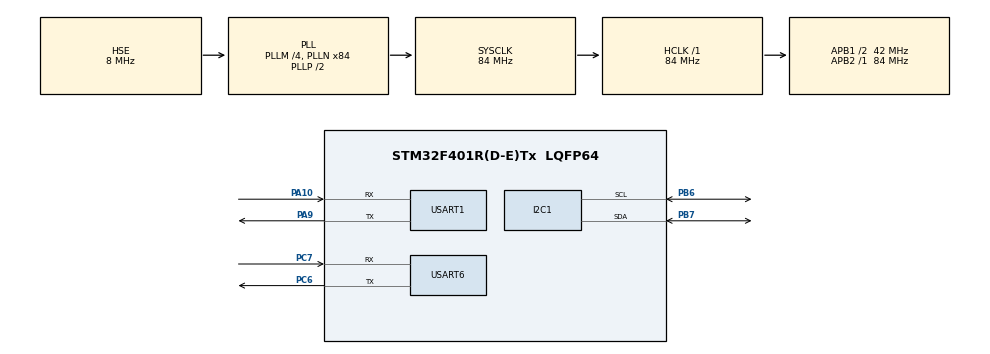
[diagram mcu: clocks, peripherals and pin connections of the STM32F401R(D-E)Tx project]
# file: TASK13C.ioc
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Mcu.Family=STM32F4
Mcu.Name=STM32F401R(D-E)Tx
Mcu.Package=LQFP64
NVIC.PriorityGroup=NVIC_PRIORITYGROUP_4
NVIC.USART1_IRQn=true\:0\:0\:false\:false\:true\:true\:true\:true
PA10.Mode=Asynchronous
PA10.Signal=USART1_RX
PA13.Mode=Serial_Wire
PA13.Signal=SYS_JTMS-SWDIO
PA14.Mode=Serial_Wire
PA14.Signal=SYS_JTCK-SWCLK
PA9.Mode=Asynchronous
PA9.Signal=USART1_TX
PB6.Mode=I2C
PB6.Signal=I2C1_SCL
PB7.Mode=I2C
PB7.Signal=I2C1_SDA
PC6.Mode=Asynchronous
PC6.Signal=USART6_TX
PC7.Mode=Asynchronous
PC7.Signal=USART6_RX
PH0\ -\ OSC_IN.Mode=HSE-External-Clock-Source
PH0\ -\ OSC_IN.Signal=RCC_OSC_IN
PH1\ -\ OSC_OUT.Mode=HSE-External-Clock-Source
PH1\ -\ OSC_OUT.Signal=RCC_OSC_OUT
ProjectManager.HeapSize=0x200
ProjectManager.StackSize=0x400
ProjectManager.TargetToolchain=STM32CubeIDE
RCC.48MHZClocksFreq_Value=42000000
RCC.AHBFreq_Value=84000000
RCC.APB1CLKDivider=RCC_HCLK_DIV2
RCC.APB1Freq_Value=42000000
RCC.APB1TimFreq_Value=84000000
RCC.APB2Freq_Value=84000000
RCC.APB2TimFreq_Value=84000000
RCC.CortexFreq_Value=84000000
RCC.HCLKFreq_Value=84000000
RCC.HSE_VALUE=8000000
RCC.HSI_VALUE=16000000
RCC.LSE_VALUE=32768
RCC.PLLM=4
RCC.PLLN=84
RCC.PLLSourceVirtual=RCC_PLLSOURCE_HSE
RCC.SYSCLKFreq_VALUE=84000000
RCC.SYSCLKSource=RCC_SYSCLKSOURCE_PLLCLK
RCC.VCOOutputFreq_Value=168000000
USART1.VirtualMode=VM_ASYNC
USART6.VirtualMode=VM_ASYNC
board=custom

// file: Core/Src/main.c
/* USER CODE BEGIN Header */
/**
  ******************************************************************************
  * @file           : main.c
  * @brief          : Main program body
  ******************************************************************************
  * @attention
  *
  * Copyright (c) 2026 STMicroelectronics.
  * All rights reserved.
  *
  * This software is licensed under terms that can be found in the LICENSE file
  * in the root directory of this software component.
  * If no LICENSE file comes with this software, it is provided AS-IS.
  *
  ******************************************************************************
  */
/* USER CODE END Header */
#include "main.h"

/* USER CODE BEGIN Includes */
#include "bme280.h"
#include <stdio.h>
#include <string.h>
/* USER CODE END Includes */

/* USER CODE BEGIN PTD */
//HTTP Server Related
typedef enum { CLOSED, CONNECTED, DATA } connection_state;
typedef struct {
	connection_state state;
	char data[128];
} connection;
/* USER CODE END PTD */

I2C_HandleTypeDef hi2c1;

UART_HandleTypeDef huart1;
UART_HandleTypeDef huart6;

/* USER CODE BEGIN PV */
struct bme280_dev dev;
struct bme280_settings settings;
struct bme280_data comp_data;
int8_t rslt = BME280_OK;

// I2C address of the sensor: 0x76 (SDO low). Change to BME280_I2C_ADDR_SEC (0x77) if SDO is high.
static uint8_t dev_addr = BME280_I2C_ADDR_PRIM;

// Final values -- watch these in the Live Expressions view
float temperature, pressure, humidity;
connection connections[5];
uint8_t byteRecieved;
char request[128];
char tmpbuf[256];
/* USER CODE END PV */

void SystemClock_Config(void);
static void MX_GPIO_Init(void);
static void MX_I2C1_Init(void);
static void MX_USART1_UART_Init(void);
static void MX_USART6_UART_Init(void);
/* USER CODE BEGIN PFP */
int8_t user_i2c_read(uint8_t reg_addr, uint8_t *reg_data, uint32_t len, void *intf_ptr);
int8_t user_i2c_write(uint8_t reg_addr, const uint8_t *reg_data, uint32_t len, void *intf_ptr);
void user_delay_us(uint32_t period, void *intf_ptr);
/* USER CODE END PFP */

/* USER CODE BEGIN 0 */
// UART Related
void onWifiDisconnect();
void sendUART(UART_HandleTypeDef *huart, char inp[]) {
    HAL_UART_Transmit(huart, (uint8_t *)inp, strlen(inp), HAL_MAX_DELAY);
    HAL_UART_Transmit(huart, (uint8_t *)"\r\n", 2, HAL_MAX_DELAY);
}

void recieveUART(UART_HandleTypeDef *huart, char* buf,int size) {
	uint8_t c;
	int lInd = 0;
	while (1) {
		if (HAL_UART_Receive(huart, &c, 1, HAL_MAX_DELAY) == HAL_OK) {
			if ((c == '\r') || (c == '\n')) {
				if (lInd > 0) {
					buf[lInd] = '\0';
					return;
				}
			} else if (lInd < size - 1) {
				buf[lInd++] = c;
			}
		}
	}
}

// Wifi Related
int sendATCommand(UART_HandleTypeDef *huart, char atCMD[],char *output,int outputSize) {
	output[0] = '\0';
	sendUART(huart, atCMD);
	char recBuf[512];
	while (1) {
		recieveUART(huart, recBuf, 64);
		strncat(output,recBuf, outputSize - strlen(output) - 1);
		strncat(output,"\r\n", outputSize - strlen(output) - 1);
		if (strcmp(recBuf, "OK") == 0) {
			return 1;
		} else if (strcmp(recBuf, "ERROR") == 0 || strcmp(recBuf, "FAIL") == 0) {
			return 0;
		}
	}
}

int initWifi(UART_HandleTypeDef *huart) {
	HAL_Delay(2000);
	__HAL_UART_CLEAR_OREFLAG(huart);
	char buf[32];
	sendATCommand(huart, "ATE0", buf, sizeof(buf));
	return sendATCommand(huart, "AT", buf, sizeof(buf));
}

int setMode(UART_HandleTypeDef *huart, char mode[], char *outBuf,int outBufSize) {
	outBuf[0] = '\0';
	char toSend[16];
	if (strcmp(mode,"STATION") == 0) {
		strcpy(toSend,"AT+CWMODE=1");
	} else if (strcmp(mode,"AP") == 0) {
		strcpy(toSend,"AT+CWMODE=2");
	} else if (strcmp(mode,"STATION_AP") == 0) {
		strcpy(toSend,"AT+CWMODE=3");
	} else {
		return -1;
	}
	return sendATCommand(huart, toSend, outBuf, outBufSize);
}

int joinAP(UART_HandleTypeDef *huart, char ssid[], char password[], char *outBuf,int outBufSize) {
	outBuf[0] = '\0';
	char toSend[128] = "AT+CWJAP=\"";
	strcat(toSend, ssid);
	strcat(toSend, "\",\"");
	strcat(toSend,password);
	strcat(toSend,"\"");
	return sendATCommand(huart, toSend, outBuf, outBufSize);
}

int getMAC(UART_HandleTypeDef *huart, char* macBuf,int macBufSize) {
	macBuf[0] = '\0';
	char outBuf[256];
	int ret = sendATCommand(huart, "AT+CIFSR", outBuf, sizeof(outBuf));
	if (ret) {
		char *mac = strstr(outBuf,"STAMAC");
		if (mac == NULL) {
			return 0;
		} else {
			mac += 8;
			int lastInd = 0;
			while (lastInd < macBufSize - 1 && *mac != '\0') {
				if (*mac == '\"') break;
				macBuf[lastInd++] = *mac;
				mac++;
			}
			macBuf[lastInd] = '\0';
		}
	}
	return ret;
}

int getIP(UART_HandleTypeDef *huart, char* ipBuf,int ipBufSize) {
	ipBuf[0] = '\0';
	char outBuf[256];
	int ret = sendATCommand(huart, "AT+CIFSR", outBuf, sizeof(outBuf));
	if (ret) {
		char *ip = strstr(outBuf,"STAIP");
		if (ip == NULL) {
			return 0;
		} else {
			ip += 7;
			int lastInd = 0;
			while (lastInd < ipBufSize - 1 && *ip != '\0') {
				if (*ip == '\"') break;
				ipBuf[lastInd++] = *ip;
				ip++;
			}
			ipBuf[lastInd] = '\0';
		}
	}
	return ret;
}

//HTTP Server Related
void HAL_UART_RxCpltCallback(UART_HandleTypeDef *huart) {
	if (huart->Instance == USART1) {
		int ind = strlen(request);
		if ((byteRecieved != '\r' && byteRecieved != '\n') && (ind < (int)sizeof(request)-1)) {
			request[ind++] = byteRecieved;
			request[ind] = '\0';
		} else {
			if (strstr(request,"WIFI DISCONNECT") != NULL) {
				onWifiDisconnect();
			} else if (strstr(request,"CONNECT") != NULL) {
				if (request[0] >= '0' && request[0] <= '4' && request[1] == ',')
					connections[request[0] - '0'].state = CONNECTED;
			} else if (strstr(request,"CLOSED") != NULL) {
				if (request[0] >= '0' && request[0] <= '4' && request[1] == ',')
					connections[request[0] - '0'].state = CLOSED;
			}  else {
				char* req = strstr(request,"+IPD");
				if (req != NULL) {
					req += 5;
					int link = *req - '0';
					req += 2;
					while (*req != ':' && *req != '\0') {
						req++;
					}
					if (link >= 0 && link <= 4 && *req == ':') {
						req += 1;
						if (connections[link].state != DATA) {
							strcpy(connections[link].data,req);
							connections[link].state = DATA;
						}
					}
				}
			}
			request[0] = '\0';
		}
		HAL_UART_Receive_IT(&huart1, &byteRecieved, 1);
	}
}

void HAL_UART_ErrorCallback(UART_HandleTypeDef *huart) {
	if (huart->Instance == USART1) {
		request[0] = '\0';
		HAL_UART_Receive_IT(&huart1, &byteRecieved, 1);
	}
}

int initServer() {
	char outBuf[8];
	int r1 = sendATCommand(&huart1, "AT+CIPMUX=1", outBuf, sizeof(outBuf));
	if (!r1) {
		return r1;
	}
	if (r1) {
		r1 = sendATCommand(&huart1, "AT+CIPSERVER=1,80", outBuf, sizeof(outBuf));
		HAL_UART_Receive_IT(&huart1, &byteRecieved, 1);
	}
	return r1;
}

int sendHTML(char content[],char type[],int link) {
	char out[1024];
	char toSend[32];
	int len = snprintf(out,sizeof(out),"HTTP/1.1 200 OK\r\nContent-Type: %s\r\nContent-Length: %d\r\nConnection: close\r\n\r\n%s",type,strlen(content),content);
	if (len >= (int)sizeof(out)) len = sizeof(out) - 1;
	snprintf(toSend,sizeof(toSend),"AT+CIPSEND=%d,%d",link,len);

	HAL_UART_AbortReceive(&huart1);

	int ret = sendATCommand(&huart1, toSend, tmpbuf, sizeof(tmpbuf));
	if (ret) {
		uint8_t c;
		do {
			HAL_UART_Receive(&huart1, &c, 1, HAL_MAX_DELAY);
		} while (c != '>');

		HAL_UART_Transmit(&huart1, (uint8_t *)out, len, HAL_MAX_DELAY);

		char recBuf[64];
		do {
			recieveUART(&huart1, recBuf, sizeof(recBuf));
		} while (strcmp(recBuf, "SEND OK") != 0 && strcmp(recBuf, "SEND FAIL") != 0 && strcmp(recBuf, "ERROR") != 0);
		ret = (strcmp(recBuf, "SEND OK") == 0);
	}

	snprintf(toSend,sizeof(toSend),"AT+CIPCLOSE=%d",link);
	sendATCommand(&huart1, toSend, tmpbuf, sizeof(tmpbuf));
	connections[link].state = CLOSED;

	request[0] = '\0';
	HAL_UART_Receive_IT(&huart1, &byteRecieved, 1);
	return ret;
}

void handleResponse(void (*respHandler)(char*,int)) {
	for (int i = 0;i < 5;i++) {
		if (connections[i].state == DATA) {
			char* url = strstr(connections[i].data,"GET");
			if (url != NULL) {
				url += 4;
				char urlRec[32];
				int lInd = 0;
				while (*url != ' ') {
					urlRec[lInd++] = *url++;
				}
				urlRec[lInd] = '\0';
				respHandler(urlRec,i);
			} else {
				sendHTML("Not found","text/html",i);
			}
		}
	}
}

void handleRouting(char url[],int client) {
	char toPrint[32];
	snprintf(toPrint,sizeof(toPrint),"%d: GET %s",client,url);
	sendUART(&huart6, toPrint);
	if (!strcmp(url,"/")) {
		char json[200];
		snprintf(json,sizeof(json),"{\"status\":\"success\",\"temperature\":%.2f,\"humidity\":%.2f,\"pressure\":%.2f}",temperature,humidity,pressure);
		sendHTML(json,"application/json",client);
	} else {
		sendHTML("Page not found","text/html",client);
	}
}

void onWifiDisconnect() {
	HAL_UART_AbortReceive(&huart1);
	sendUART(&huart6, "Wifi Disconnected. Reconnecting...");
	char data[32];
	data[0] = '\0';
	while (strcmp(data,"WIFI GOT IP")) {
		recieveUART(&huart1, data, sizeof(data));
	}
	sendUART(&huart6, "Connected. Reinitializing Server");
	initServer();
	sendUART(&huart6, "Server initialized successfully");
}
/* USER CODE END 0 */

int main(void)
{

  /* MCU Configuration--------------------------------------------------------*/

  /* Reset of all peripherals, Initializes the Flash interface and the Systick. */
  HAL_Init();

  /* Configure the system clock */
  SystemClock_Config();

  /* Initialize all configured peripherals */
  MX_GPIO_Init();
  MX_I2C1_Init();
  MX_USART1_UART_Init();
  MX_USART6_UART_Init();
  /* USER CODE BEGIN 2 */

  // Tell the Bosch driver how to talk to the sensor
  dev.intf_ptr = &dev_addr;
  dev.intf     = BME280_I2C_INTF;
  dev.read     = user_i2c_read;
  dev.write    = user_i2c_write;
  dev.delay_us = user_delay_us;

  // Checks the chip ID and reads the calibration data
  rslt = bme280_init(&dev);
  if (rslt != BME280_OK) Error_Handler();

  // Configure oversampling, filter and standby time
  rslt = bme280_get_sensor_settings(&settings, &dev);
  settings.osr_h        = BME280_OVERSAMPLING_2X;
  settings.osr_p        = BME280_OVERSAMPLING_2X;
  settings.osr_t        = BME280_OVERSAMPLING_2X;
  settings.filter       = BME280_FILTER_COEFF_OFF;

  rslt = bme280_set_sensor_settings(BME280_SEL_ALL_SETTINGS, &settings, &dev);
  if (rslt != BME280_OK) Error_Handler();

  // Normal mode: the sensor measures continuously on its own
  rslt = bme280_set_sensor_mode(BME280_POWERMODE_NORMAL, &dev);
  if (rslt != BME280_OK) Error_Handler();

  char buf[32];
  sendUART(&huart6, "Initializing Wifi...");
  initWifi(&huart1);
  sendUART(&huart6, "Initialized Wifi");
  setMode(&huart1, "STATION", buf, sizeof(buf));

  sendUART(&huart6, "Connecting to Wifi...");
  int ret = joinAP(&huart1, "SNUC", "snu12345", buf, sizeof(buf));
  if (ret) {
	  sendUART(&huart6, "Connected to Wifi Successfully");
	  char buf[128];
	  char buf2[64];
	  getIP(&huart1, buf2, sizeof(buf2));
	  snprintf(buf,sizeof(buf),"IP Address: %s",buf2);
	  sendUART(&huart6, buf);

	  initServer();

  } else {
	  sendUART(&huart6, "Failed to connect to wifi");
  }

  /* USER CODE END 2 */

  /* Infinite loop */
  while (1)
  {

    /* USER CODE BEGIN 3 */
    /*rslt = bme280_get_sensor_data(BME280_ALL, &comp_data, &dev);

    if (rslt == BME280_OK)
    {
      temperature = comp_data.temperature;        // deg C
      pressure    = comp_data.pressure / 100.0f;  // Pa -> hPa
      humidity    = comp_data.humidity;           // % RH
    }

    HAL_Delay(1000);  // read once per second*/
	if (ret) {
		handleResponse(handleRouting);
		rslt = bme280_get_sensor_data(BME280_ALL, &comp_data, &dev);
	    if (rslt == BME280_OK)
	    {
	      temperature = comp_data.temperature;        // deg C
	      pressure    = comp_data.pressure / 100.0f;  // Pa -> hPa
	      humidity    = comp_data.humidity;           // % RH
	    }
		HAL_Delay(2000);
	}
  }
  /* USER CODE END 3 */
}

void SystemClock_Config(void)
{
  RCC_OscInitTypeDef RCC_OscInitStruct = {0};
  RCC_ClkInitTypeDef RCC_ClkInitStruct = {0};

  /** Configure the main internal regulator output voltage
  */
  __HAL_RCC_PWR_CLK_ENABLE();
  __HAL_PWR_VOLTAGESCALING_CONFIG(PWR_REGULATOR_VOLTAGE_SCALE2);

  /** Initializes the RCC Oscillators according to the specified parameters
  * in the RCC_OscInitTypeDef structure.
  */
  RCC_OscInitStruct.OscillatorType = RCC_OSCILLATORTYPE_HSE;
  RCC_OscInitStruct.HSEState = RCC_HSE_BYPASS;
  RCC_OscInitStruct.PLL.PLLState = RCC_PLL_ON;
  RCC_OscInitStruct.PLL.PLLSource = RCC_PLLSOURCE_HSE;
  RCC_OscInitStruct.PLL.PLLM = 4;
  RCC_OscInitStruct.PLL.PLLN = 84;
  RCC_OscInitStruct.PLL.PLLP = RCC_PLLP_DIV2;
  RCC_OscInitStruct.PLL.PLLQ = 4;
  if (HAL_RCC_OscConfig(&RCC_OscInitStruct) != HAL_OK)
  {
    Error_Handler();
  }

  /** Initializes the CPU, AHB and APB buses clocks
  */
  RCC_ClkInitStruct.ClockType = RCC_CLOCKTYPE_HCLK|RCC_CLOCKTYPE_SYSCLK
                              |RCC_CLOCKTYPE_PCLK1|RCC_CLOCKTYPE_PCLK2;
  RCC_ClkInitStruct.SYSCLKSource = RCC_SYSCLKSOURCE_PLLCLK;
  RCC_ClkInitStruct.AHBCLKDivider = RCC_SYSCLK_DIV1;
  RCC_ClkInitStruct.APB1CLKDivider = RCC_HCLK_DIV2;
  RCC_ClkInitStruct.APB2CLKDivider = RCC_HCLK_DIV1;

  if (HAL_RCC_ClockConfig(&RCC_ClkInitStruct, FLASH_LATENCY_2) != HAL_OK)
  {
    Error_Handler();
  }
}

static void MX_I2C1_Init(void)
{

  hi2c1.Instance = I2C1;
  hi2c1.Init.ClockSpeed = 100000;
  hi2c1.Init.DutyCycle = I2C_DUTYCYCLE_2;
  hi2c1.Init.OwnAddress1 = 0;
  hi2c1.Init.AddressingMode = I2C_ADDRESSINGMODE_7BIT;
  hi2c1.Init.DualAddressMode = I2C_DUALADDRESS_DISABLE;
  hi2c1.Init.OwnAddress2 = 0;
  hi2c1.Init.GeneralCallMode = I2C_GENERALCALL_DISABLE;
  hi2c1.Init.NoStretchMode = I2C_NOSTRETCH_DISABLE;
  if (HAL_I2C_Init(&hi2c1) != HAL_OK)
  {
    Error_Handler();
  }

}

static void MX_USART1_UART_Init(void)
{

  huart1.Instance = USART1;
  huart1.Init.BaudRate = 115200;
  huart1.Init.WordLength = UART_WORDLENGTH_8B;
  huart1.Init.StopBits = UART_STOPBITS_1;
  huart1.Init.Parity = UART_PARITY_NONE;
  huart1.Init.Mode = UART_MODE_TX_RX;
  huart1.Init.HwFlowCtl = UART_HWCONTROL_NONE;
  huart1.Init.OverSampling = UART_OVERSAMPLING_16;
  if (HAL_UART_Init(&huart1) != HAL_OK)
  {
    Error_Handler();
  }

}

static void MX_USART6_UART_Init(void)
{

  huart6.Instance = USART6;
  huart6.Init.BaudRate = 115200;
  huart6.Init.WordLength = UART_WORDLENGTH_8B;
  huart6.Init.StopBits = UART_STOPBITS_1;
  huart6.Init.Parity = UART_PARITY_NONE;
  huart6.Init.Mode = UART_MODE_TX_RX;
  huart6.Init.HwFlowCtl = UART_HWCONTROL_NONE;
  huart6.Init.OverSampling = UART_OVERSAMPLING_16;
  if (HAL_UART_Init(&huart6) != HAL_OK)
  {
    Error_Handler();
  }

}

static void MX_GPIO_Init(void)
{

  /* GPIO Ports Clock Enable */
  __HAL_RCC_GPIOH_CLK_ENABLE();
  __HAL_RCC_GPIOC_CLK_ENABLE();
  __HAL_RCC_GPIOA_CLK_ENABLE();
  __HAL_RCC_GPIOB_CLK_ENABLE();

}

/* USER CODE BEGIN 4 */
int8_t user_i2c_read(uint8_t reg_addr, uint8_t *reg_data, uint32_t len, void *intf_ptr)
{
  uint8_t addr = *(uint8_t *)intf_ptr;
  // HAL expects the 7-bit address shifted left by 1
  if (HAL_I2C_Mem_Read(&hi2c1, (uint16_t)(addr << 1), reg_addr, I2C_MEMADD_SIZE_8BIT,
                       reg_data, (uint16_t)len, HAL_MAX_DELAY) == HAL_OK)
  {
    return BME280_OK;
  }
  return BME280_E_COMM_FAIL;
}

int8_t user_i2c_write(uint8_t reg_addr, const uint8_t *reg_data, uint32_t len, void *intf_ptr)
{
  uint8_t addr = *(uint8_t *)intf_ptr;
  if (HAL_I2C_Mem_Write(&hi2c1, (uint16_t)(addr << 1), reg_addr, I2C_MEMADD_SIZE_8BIT,
                        (uint8_t *)reg_data, (uint16_t)len, HAL_MAX_DELAY) == HAL_OK)
  {
    return BME280_OK;
  }
  return BME280_E_COMM_FAIL;
}

void user_delay_us(uint32_t period, void *intf_ptr)
{
  // HAL only has a millisecond delay, so round microseconds up to the next ms
  (void)intf_ptr;
  HAL_Delay((period / 1000) + 1);
}
/* USER CODE END 4 */

void Error_Handler(void)
{
  __disable_irq();
  while (1)
  {
  }
}
